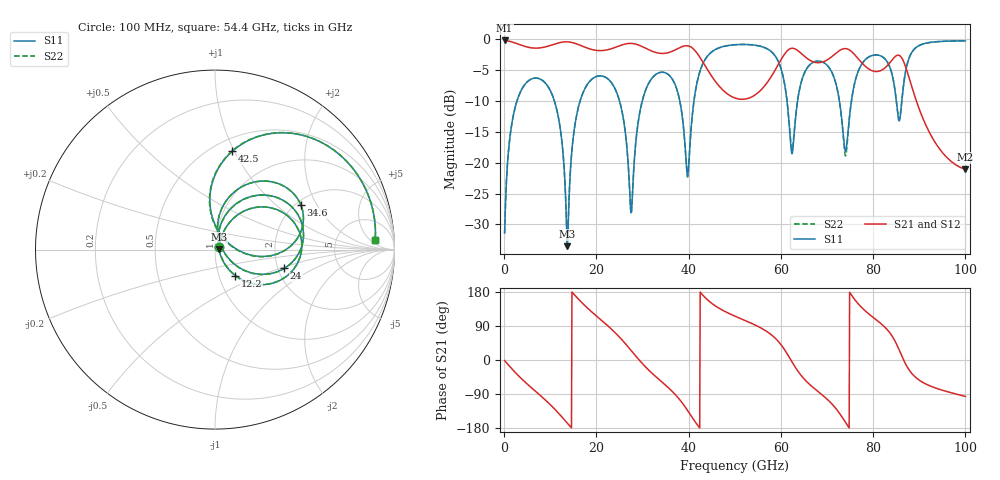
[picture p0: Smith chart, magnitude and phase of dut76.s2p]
! Touchstone file exported from HFSS 2026.1.0
!  File:  C:/ffzhzh/LocalFiles/Ansys_Project_Files/temp_train_TSV_RDL_76_1783450484_41684.aedt
!  Generated:  03:06:23 AM Jul  8, 2026
!  Design:  TSV_RDL
!  Project:  temp_train_TSV_RDL_76_1783450484_41684
! Variables:
!  h_bsmrdl = 3.7um
!  h_ox = 20um
!  h_rdl = 5um
!  h_sub = 58.87um
!  h_tmrdl = 3.16um
!  h_tsv = 58.87um
!  h_via = 3um
!  l_bsmrdl = 629.23um
!  l_sub = 4077.2um
!  l_tmrdl = 417.85um
!  m_sub = 200um
!  pitch = 45.84um
!  r_tsv = 12.05um
!  s_tmrdl = 10um
!  w_bsmrdl = 27.38um
!  w_sub = 500um
!  w_tmrdl = 11.99um
!  x_tsv_center1 = 423.845um
!  x_tsv_center2 = 1080.455um
!  x_tsv_center3 = 1510.295um
!  x_tsv_center4 = 2166.905um
!  x_tsv_center5 = 2596.745um
!  x_tsv_center6 = 3253.355um
# GHz S MA R 50.000000
! Terminal data exported
! Port[1] = TM_RDL1_1_T1
! Port[2] = TM_RDL5_1_T1
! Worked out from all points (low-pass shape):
!   1000 points, 100 MHz to 100 GHz, reference 50 ohm
!   highest |S21| = -0.20 dB at 100 MHz (marker M1); lowest = -21.1 dB at 100 GHz (marker M2)
!   |S21| within 3 dB of the highest: start of sweep to 42.67 GHz; 70.35 GHz to 76.81 GHz (6.459 GHz wide, 8.78 % of centre)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
!   lowest |S11| = -33.5 dB at 13.7 GHz (marker M3), VSWR 1.04, Z = 52.1 + j0.382 ohm
!   |S11| at or under -10 dB: 10.9 GHz to 16.47 GHz (5.573 GHz wide, 40.7 % of centre); 25.01 GHz to 29.94 GHz (4.935 GHz wide, 18 % of centre); 38.08 GHz to 41.15 GHz (3.067 GHz wide, 7.74 % of centre)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
!   |S22| runs from -32.9 to -0.3 dB; largest |S21 - S12| = 2.3e-12
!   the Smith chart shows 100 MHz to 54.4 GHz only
!   S11 on the Smith chart (normalised r, x): 100 MHz: 1.05, +0.03; 12.2 GHz: 1.20, -0.36; 24 GHz: 2.17, -0.54; 34.6 GHz: 2.12, +1.49; 42.5 GHz: 0.62, +0.98; 54.4 GHz: 14, +7
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0.1  0.02699 30.3  0.9769 -1.5  0.9769 -1.5  0.02699 30.3
! Gamma 0 0 0 0
! Port Impedance 50 0 50 0
4.2  0.4153 31.9  0.8815 -54.5  0.8815 -54.5  0.4153 31.9
12.2  0.1854 -52.0  0.941 -145.9  0.941 -145.9  0.1854 -51.7
13.7  0.02111 10.0  0.9516 -166.7  0.9516 -166.7  0.02256 10.3
16.8  0.345 57.6  0.8835 151.9  0.8835 151.9  0.3452 57.3
24  0.3998 -15.1  0.8562 72.9  0.8562 72.9  0.3998 -15.3
27.5  0.03936 17.0  0.9248 25.5  0.9248 25.5  0.03849 16.7
33.4  0.5319 38.8  0.7727 -49.6  0.7727 -49.6  0.5318 38.7
34.6  0.5389 27.5  0.7676 -62.3  0.7676 -62.3  0.5388 27.4
39.7  0.07973 34.2  0.8848 -132.0  0.8848 -132.0  0.07742 34.0
42.5  0.557 79.9  0.7081 179.2  0.7081 179.2  0.5567 80.2
50.1  0.9024 23.8  0.3336 115.3  0.3336 115.3  0.9024 23.9
54.4  0.8938 3.3  0.3537 92.4  0.3537 92.4  0.8939 3.5
59.7  0.6264 -36.1  0.65 45.4  0.65 45.4  0.6274 -35.5
62.4  0.118 -4.1  0.8446 -4.7  0.8446 -4.7  0.1269 -4.1
66.7  0.64 17.7  0.663 -69.5  0.663 -69.5  0.6405 17.0
74.5  0.1697 48.4  0.8315 -173.8  0.8315 -173.8  0.1623 50.8
77.4  0.6179 42.0  0.6526 139.9  0.6526 139.9  0.6168 42.7
83.4  0.6205 -6.4  0.6302 75.1  0.6302 75.1  0.6213 -5.8
85.7  0.2186 25.3  0.7387 25.0  0.7387 25.0  0.2253 25.3
88.1  0.7483 43.4  0.4468 -31.3  0.4468 -31.3  0.7496 43.1
100  0.9701 -7.3  0.08847 -96.1  0.08847 -96.1  0.9702 -7.4
